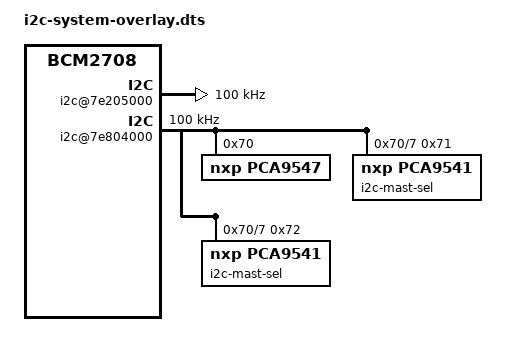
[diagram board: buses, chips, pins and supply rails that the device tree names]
/*
*  Device Tree overlay for RPC I2C Control and Monitor System
* 
*  PCA9547 I2C Multiplexer
*  PCA9541 I2C Master Selector 
*
*/
/dts-v1/;
/plugin/;

/ {

	compatible = "brcm,bcm2708";

        fragment@0 {
                traget = <&i2c0>;
                target-path = "/soc/i2c@7e205000";
                __overlay__ {

			compatible = "brcm,bcm2708-i2c";
			reg = <0x7e205000 0x1000>;
			interrupts = <0x2 0x15>;
			clocks = <0x5>;
			#address-cells = <0x1>;
			#size-cells = <0x0>;
			status = "okay";
			pinctrl-names = "default";
			pinctrl-0 = <0x6>;
			clock-frequency = <0x186a0>;
			linux,phandle = <0xb>;
			phandle = <0xb>;
                };
        };


	fragment@1 {
		traget = <&i2c1>;
		target-path = "/soc/i2c@7e804000";
		__overlay__ {
			compatible = "brcm,bcm2708-i2c";
			reg = <0x7e804000 0x1000>;
			interrupts = <0x2 0x15>;
			clocks = <0x5>;
			#address-cells = <1>;
			#size-cells = <0>;
			status = "okay";
			pinctrl-names = "default";
			pinctrl-0 = <0x7>;
			clock-frequency = <0x186a0>;
			linux,phandle = <0xc>;
			phandle = <0xc>;

			pca9547: i2c-mux@70 {
				compatible = "nxp,pca9547";
				#address-cells = <1>;
				#size-cells = <0>;
				reg = <0x70>;

				i2c@7 {
					#address-cells = <1>;
					#size-cells = <0>;
					reg = <7>;

					i2c-mast-sel@71 {
						compatible = "nxp,pca9541";
						#address-cells = <1>;
						#size-cells = <0>;
						reg = <0x71>;
					};

					i2c-mast-sel@72 {
                                                compatible = "nxp,pca9541";
                                                #address-cells = <1>;
                                                #size-cells = <0>;
                                                reg = <0x72>;
                                        };

				};
			};
		};
	};
};
